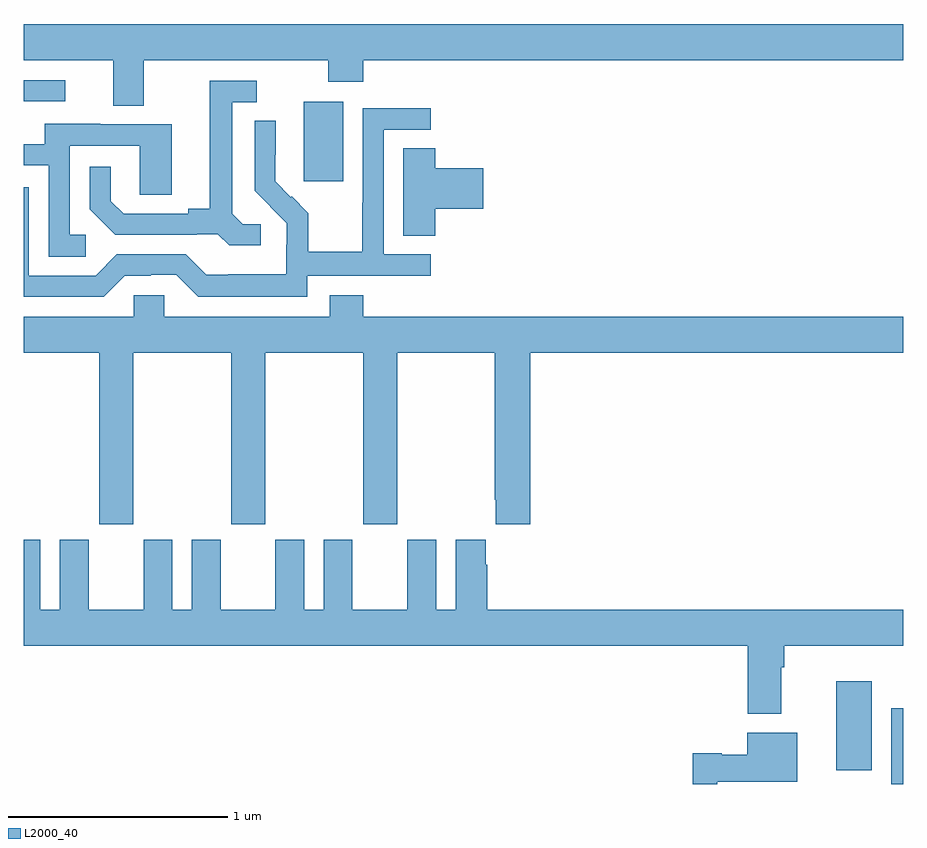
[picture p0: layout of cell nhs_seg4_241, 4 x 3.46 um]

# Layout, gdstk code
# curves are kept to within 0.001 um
import gdstk
lib = gdstk.Library(unit=1e-6, precision=1e-09)
def R(c, l, rs):  # rectangles x0, y0, x1, y1
    for r in rs: c.add(gdstk.rectangle(r[:2], r[2:], *l))
def P(c, l, *ps):  # polygons
    for p in ps: c.add(gdstk.Polygon(p, *l))
L2000_40 = (2000, 40)

nhs_seg4_241 = lib.new_cell('nhs_seg4_241')
R(nhs_seg4_241, L2000_40, [(126.944,754.9,127,755.245), (126.695,754.962,126.856,755.368), (124.274,757.641,124.453,758.002), (123,758.004,123.19,758.1)])
P(nhs_seg4_241, L2000_40, [(123.547,758.192),(124.384,758.192),(124.384,758.093),(124.544,758.093),(124.544,758.192),(127,758.192),(127,758.356),(123,758.356),(123,758.192),(123.407,758.192),(123.407,757.984),(123.547,757.984)],
  [(124.078,757.446),(123.996,757.446),(123.949,757.493),(123.949,758.001),(124.06,758.001),(124.06,758.097),(123.845,758.097),(123.845,757.517),(123.749,757.517),(123.749,757.494),(123.454,757.494),(123.397,757.551),(123.397,757.708),(123.3,757.708),(123.3,757.514),(123.416,757.398),(123.788,757.398),(123.788,757.401),(123.882,757.401),(123.934,757.349),(124.078,757.349)],
  [(124.29,757.212),(124.852,757.212),(124.852,757.308),(124.638,757.308),(124.638,757.875),(124.852,757.875),(124.852,757.974),(124.542,757.974),(124.542,757.544),(124.54,757.544),(124.54,757.321),(124.295,757.321),(124.295,757.495),(124.218,757.572),(124.215,757.569),(124.145,757.64),(124.146,757.916),(124.05,757.916),(124.05,757.598),(124.196,757.45),(124.196,757.353),(124.194,757.353),(124.194,757.219),(123.931,757.219),(123.931,757.215),(123.831,757.215),(123.738,757.308),(123.423,757.308),(123.327,757.212),(123.024,757.212),(123.024,757.614),(123,757.614),(123,757.116),(123.363,757.116),(123.459,757.212),(123.578,757.212),(123.578,757.215),(123.693,757.215),(123.793,757.115),(124.29,757.115)],
  [(123.283,757.398),(123.21,757.398),(123.21,757.803),(123.528,757.803),(123.528,757.579),(123.673,757.579),(123.673,757.899),(123.349,757.899),(123.349,757.903),(123.095,757.903),(123.095,757.809),(123,757.809),(123,757.713),(123.114,757.713),(123.114,757.297),(123.283,757.297)],
  [(124.871,757.517),(125.089,757.517),(125.089,757.7),(124.871,757.7),(124.871,757.79),(124.727,757.79),(124.727,757.393),(124.871,757.393)],
  [(123.498,756.86),(123.943,756.86),(123.943,756.081),(124.098,756.081),(124.098,756.86),(124.543,756.86),(124.543,756.081),(124.698,756.081),(124.698,756.86),(125.143,756.86),(125.143,756.193),(125.147,756.193),(125.147,756.081),(125.303,756.081),(125.303,756.86),(127,756.86),(127,757.024),(124.544,757.024),(124.544,757.123),(124.391,757.123),(124.391,757.024),(123.639,757.024),(123.639,757.122),(123.501,757.122),(123.501,757.024),(123,757.024),(123,756.86),(123.343,756.86),(123.343,756.081),(123.498,756.081)],
  [(126.445,755.432),(126.458,755.432),(126.458,755.528),(127,755.528),(127,755.692),(125.108,755.692),(125.108,755.897),(125.101,755.897),(125.101,756.01),(124.964,756.01),(124.964,755.692),(124.876,755.692),(124.876,756.01),(124.745,756.01),(124.745,755.692),(124.495,755.692),(124.495,756.01),(124.364,756.01),(124.364,755.692),(124.276,755.692),(124.276,756.01),(124.145,756.01),(124.145,755.692),(123.895,755.692),(123.895,756.01),(123.764,756.01),(123.764,755.692),(123.676,755.692),(123.676,756.01),(123.545,756.01),(123.545,755.692),(123.295,755.692),(123.295,756.01),(123.164,756.01),(123.164,755.692),(123.076,755.692),(123.076,756.01),(123,756.01),(123,755.528),(126.293,755.528),(126.293,755.219),(126.445,755.219)],
  [(126.154,754.91),(126.517,754.91),(126.517,755.134),(126.29,755.134),(126.29,755.032),(126.174,755.032),(126.174,755.04),(126.042,755.04),(126.042,754.9),(126.154,754.9)])

lib.write_gds('nhs_seg4_241.gds')
